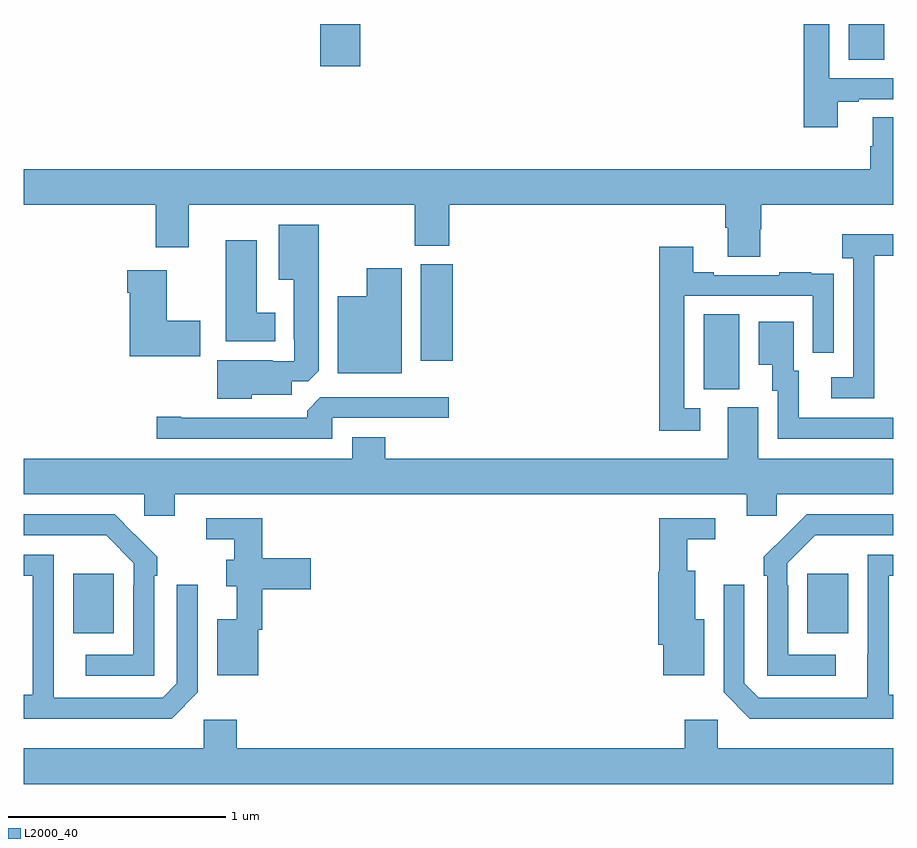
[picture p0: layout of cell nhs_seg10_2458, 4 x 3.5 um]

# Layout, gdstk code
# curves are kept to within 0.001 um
import gdstk
lib = gdstk.Library(unit=1e-6, precision=1e-09)
def R(c, l, rs):  # rectangles x0, y0, x1, y1
    for r in rs: c.add(gdstk.rectangle(r[:2], r[2:], *l))
def P(c, l, *ps):  # polygons
    for p in ps: c.add(gdstk.Polygon(p, *l))
L2000_40 = (2000, 40)

nhs_seg10_2458 = lib.new_cell('nhs_seg10_2458')
R(nhs_seg10_2458, L2000_40, [(243.227,1279.697,243.415,1279.972), (246.605,1279.697,246.793,1279.972), (246.128,1280.821,246.292,1281.164), (244.826,1280.952,244.973,1281.396), (244.364,1282.305,244.547,1282.5), (246.794,1282.336,246.958,1282.5)])
P(nhs_seg10_2458, L2000_40, [(246.745,1282.143),(246.841,1282.143),(246.841,1282.155),(247,1282.155),(247,1282.251),(246.705,1282.251),(246.705,1282.5),(246.589,1282.5),(246.589,1282.026),(246.745,1282.026)],
  [(246.387,1281.555),(246.392,1281.555),(246.392,1281.668),(247,1281.668),(247,1282.07),(246.905,1282.07),(246.905,1281.938),(246.893,1281.938),(246.893,1281.832),(243,1281.832),(243,1281.668),(243.608,1281.668),(243.608,1281.474),(243.76,1281.474),(243.76,1281.668),(244.798,1281.668),(244.798,1281.481),(244.958,1281.481),(244.958,1281.668),(246.227,1281.668),(246.227,1281.562),(246.239,1281.562),(246.239,1281.43),(246.387,1281.43)],
  [(244.05,1280.795),(244.234,1280.795),(244.234,1280.856),(244.308,1280.856),(244.357,1280.905),(244.357,1281.577),(244.172,1281.577),(244.172,1281.323),(244.241,1281.323),(244.241,1281.049),(244.245,1281.049),(244.245,1280.949),(244.145,1280.949),(244.145,1280.953),(243.89,1280.953),(243.89,1280.777),(244.05,1280.777)],
  [(246.912,1281.235),(246.913,1281.235),(246.913,1281.435),(247,1281.435),(247,1281.532),(246.765,1281.532),(246.765,1281.422),(246.816,1281.422),(246.816,1280.874),(246.714,1280.874),(246.714,1280.778),(246.912,1280.778)],
  [(244.156,1281.172),(244.072,1281.172),(244.072,1281.505),(243.929,1281.505),(243.929,1281.041),(244.156,1281.041)],
  [(246.112,1280.733),(246.039,1280.733),(246.039,1281.249),(246.63,1281.249),(246.63,1280.988),(246.726,1280.988),(246.726,1281.242),(246.725,1281.242),(246.725,1281.351),(246.623,1281.351),(246.623,1281.358),(246.475,1281.358),(246.475,1281.345),(246.175,1281.345),(246.175,1281.358),(246.079,1281.358),(246.079,1281.475),(245.923,1281.475),(245.923,1280.628),(246.112,1280.628)],
  [(244.738,1281.376),(244.577,1281.376),(244.577,1281.247),(244.445,1281.247),(244.445,1280.894),(244.738,1280.894)],
  [(243.811,1281.135),(243.658,1281.135),(243.658,1281.367),(243.476,1281.367),(243.476,1281.263),(243.488,1281.263),(243.488,1280.972),(243.811,1280.972)],
  [(247,1280.688),(246.565,1280.688),(246.565,1280.904),(246.541,1280.904),(246.541,1281.13),(246.38,1281.13),(246.38,1280.933),(246.443,1280.933),(246.443,1280.814),(246.468,1280.814),(246.468,1280.592),(247,1280.592)],
  [(244.419,1280.688),(244.954,1280.688),(244.954,1280.784),(244.365,1280.784),(244.304,1280.722),(244.304,1280.688),(243.724,1280.688),(243.724,1280.693),(243.612,1280.693),(243.612,1280.592),(244.419,1280.592)],
  [(243.694,1280.336),(246.326,1280.336),(246.326,1280.238),(246.465,1280.238),(246.465,1280.336),(247,1280.336),(247,1280.5),(246.379,1280.5),(246.379,1280.736),(246.239,1280.736),(246.239,1280.5),(244.664,1280.5),(244.664,1280.599),(244.511,1280.599),(244.511,1280.5),(243,1280.5),(243,1280.336),(243.555,1280.336),(243.555,1280.238),(243.694,1280.238)],
  [(246.736,1279.599),(246.516,1279.599),(246.516,1279.919),(246.513,1279.919),(246.513,1280.019),(246.642,1280.148),(247,1280.148),(247,1280.244),(246.602,1280.244),(246.405,1280.049),(246.405,1279.961),(246.42,1279.961),(246.42,1279.503),(246.736,1279.503)],
  [(243.6,1279.961),(243.615,1279.961),(243.615,1280.049),(243.418,1280.244),(243,1280.244),(243,1280.148),(243.379,1280.148),(243.507,1280.019),(243.507,1279.919),(243.504,1279.919),(243.504,1279.599),(243.285,1279.599),(243.285,1279.503),(243.6,1279.503)],
  [(246.13,1279.762),(246.088,1279.762),(246.088,1279.984),(246.052,1279.984),(246.052,1280.129),(246.181,1280.129),(246.181,1280.226),(245.923,1280.226),(245.923,1279.98),(245.918,1279.98),(245.918,1279.644),(245.942,1279.644),(245.942,1279.505),(246.13,1279.505)],
  [(244.078,1279.713),(244.097,1279.713),(244.097,1279.901),(244.321,1279.901),(244.321,1280.043),(244.097,1280.043),(244.097,1280.226),(243.84,1280.226),(243.84,1280.13),(243.969,1280.13),(243.969,1280.035),(243.932,1280.035),(243.932,1279.913),(243.98,1279.913),(243.98,1279.762),(243.89,1279.762),(243.89,1279.505),(244.078,1279.505)],
  [(247,1279.414),(246.978,1279.414),(246.978,1279.962),(247,1279.962),(247,1280.058),(246.882,1280.058),(246.881,1279.401),(246.381,1279.401),(246.315,1279.467),(246.315,1279.921),(246.219,1279.921),(246.219,1279.425),(246.34,1279.304),(247,1279.304)],
  [(243.801,1279.425),(243.801,1279.921),(243.705,1279.921),(243.705,1279.467),(243.639,1279.401),(243.139,1279.401),(243.138,1280.058),(243,1280.058),(243,1279.962),(243.042,1279.962),(243.042,1279.414),(243,1279.414),(243,1279.304),(243.68,1279.304)],
  [(247,1279.168),(246.192,1279.168),(246.192,1279.3),(246.041,1279.3),(246.041,1279.168),(243.98,1279.168),(243.98,1279.3),(243.828,1279.3),(243.828,1279.168),(243,1279.168),(243,1279.004),(247,1279.004)])

lib.write_gds('nhs_seg10_2458.gds')
